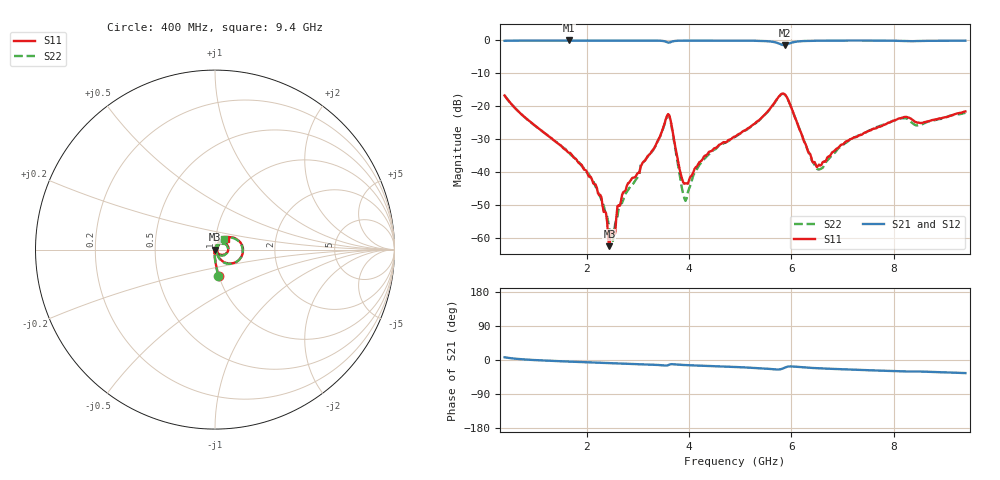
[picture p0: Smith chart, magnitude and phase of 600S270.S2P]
!  American Technical Ceramics  Date:  4/26/2005
!  One Norden Lane
!  Huntington Station,  NY.  11746-2102
!  Tel:  (631) 622-4700  Fax:  (631) 622-4748
!  Part Number  600S270  Mounting Orientation: Horizontal
!  Description: Ultra Low ESR Microwave capacitors
!  Application: Coupling, Bypass, Tuning, DC Block
!  Filters, Matching
# GHZ S DB R 50
! Freq  |S11|  S11 Ph  |S21|  S21 Ph  |S12|  S12 Ph  |S22|  S22 Ph
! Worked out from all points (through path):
!   401 points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, 400 MHz to 9.4 GHz, reference 50 ohm
!   highest |S21| = 0.00 dB at 1.66 GHz (marker M1); lowest = -1.4 dB at 5.868 GHz (marker M2)
!   group delay of S21, straight-line fit = 11 ps
!   lowest |S11| = -62.5 dB at 2.448 GHz (marker M3), VSWR 1.00, Z = 50 - j0.0636 ohm
!   |S11| at or under -10 dB: start of sweep to end of sweep
!   |S22| runs from -60.9 to -16.2 dB; largest |S21 - S12| = 0.0031
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0.4  -16.69 -82.2  -0.11 7.2  -0.12 7.1  -16.72 -82.4
1.66  -34.10 -93.4  0.00 -4.2  -0.01 -4.3  -34.08 -96.0
1.908  -37.84 -99.1  0.00 -5.5  -0.02 -5.5  -38.13 -94.3
2.245  -46.95 -100.2  0.00 -7.1  -0.01 -7.1  -46.82 -87.9
2.448  -62.46 -122.3  -0.01 -8.0  -0.01 -8.1  -57.36 -46.5
2.515  -57.92 128.2  -0.01 -8.3  -0.01 -8.4  -60.86 6.3
2.74  -45.88 89.2  0.00 -9.4  -0.02 -9.4  -47.41 63.2
3.415  -29.77 64.3  -0.07 -13.3  -0.08 -13.3  -29.87 60.6
3.618  -22.77 -8.8  -0.64 -12.2  -0.65 -12.2  -23.08 -15.2
3.843  -40.71 -33.7  -0.06 -12.8  -0.07 -12.8  -42.97 -50.2
3.933  -43.37 7.7  -0.05 -13.4  -0.06 -13.4  -48.72 10.4
4.27  -35.94 63.8  -0.03 -15.2  -0.04 -15.2  -36.49 68.9
4.9  -29.17 61.8  -0.04 -18.4  -0.05 -18.4  -29.29 63.9
5.665  -19.06 38.1  -0.49 -24.6  -0.50 -24.5  -19.12 37.2
5.868  -16.31 -14.3  -1.41 -20.4  -1.42 -20.3  -16.37 -15.8
6.408  -36.67 -39.3  -0.10 -21.0  -0.11 -20.9  -36.65 -45.2
6.565  -37.98 4.4  -0.07 -22.1  -0.07 -22.0  -39.06 4.8
7.15  -29.99 49.7  -0.02 -25.1  -0.02 -25.1  -30.08 52.3
7.915  -24.91 52.0  -0.07 -28.9  -0.08 -28.9  -24.89 50.4
8.208  -23.24 42.2  -0.18 -30.2  -0.19 -30.2  -23.62 38.9
8.478  -24.97 35.9  -0.17 -30.3  -0.17 -30.2  -25.75 43.2
9.4  -21.56 45.4  -0.06 -34.5  -0.07 -34.5  -21.97 48.9
